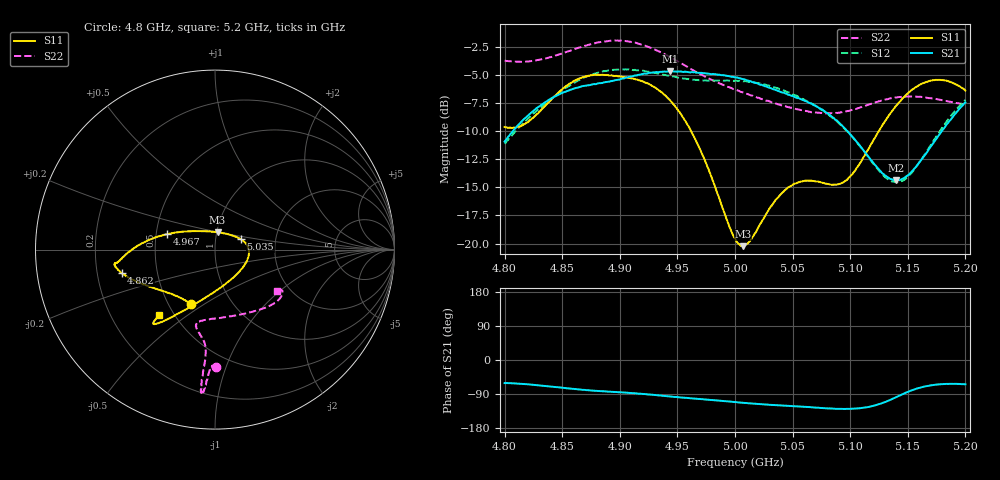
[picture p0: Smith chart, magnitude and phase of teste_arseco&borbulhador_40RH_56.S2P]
! Network Analyzer HP8722D
! Hewlett-Packard
! Data name: Linha & Wilkinson
! Saver's name: Rodrigo Anjos
! Comments: Teste da utilização de aquisição
! continua pelo VNA HP8722D
! Time and date: 15/4/2025 16:49
!  Frequency  S11  S21  S12  S22
# HZ  S  MA R 50
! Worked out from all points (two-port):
!   401 points, 4.8 GHz to 5.2 GHz, reference 50 ohm
!   highest |S21| = -4.63 dB at 4.944 GHz (marker M1); lowest = -14.4 dB at 5.14 GHz (marker M2)
!   |S21| within 3 dB of the highest: 4.832 GHz to 5.068 GHz (236 MHz wide, 4.77 % of centre); 5.198103 GHz to end of sweep
!   lowest |S11| = -20.2 dB at 5.007 GHz (marker M3), VSWR 1.22, Z = 50.5 + j9.81 ohm
!   |S11| at or under -10 dB: 4.962 GHz to 5.125 GHz (162.7 MHz wide, 3.23 % of centre)
!   |S22| runs from -8.4 to -1.9 dB; largest |S21 - S12| = 0.88
!   S11 on the Smith chart (normalised r, x): 4.8 GHz: 0.65, -0.44; 4.862 GHz: 0.31, -0.11; 4.967 GHz: 0.57, +0.11; 5.035 GHz: 1.33, +0.16; 5.2 GHz: 0.41, -0.39
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4.8e9  0.3308 -114.0  0.2848 -60.9  0.2786 -175.0  0.6542 -89.5
4.819e9  0.3452 -133.9  0.3667 -64.0  0.3549 -173.6  0.6487 -91.4
4.862e9  0.5364 -165.9  0.4941 -76.8  0.5266 -176.6  0.739 -93.8
4.867e9  0.5492 -167.8  0.5031 -78.5  0.5438 -177.6  0.7548 -93.8
4.902e9  0.5534 -172.4  0.5439 -85.6  0.5978 175.1  0.8015 -95.3
4.934e9  0.4822 -178.3  0.5815 -93.5  0.5722 171.8  0.7183 -95.7
4.944e9  0.4333 177.2  0.5866 -96.3  0.5579 171.9  0.6763 -95.6
4.967e9  0.2814 162.3  0.5776 -102.4  0.5359 173.8  0.5793 -95.1
5e9  0.1055 106.0  0.5509 -111.0  0.5329 176.4  0.4853 -99.3
5.007e9  0.09732 81.7  0.5409 -112.9  0.5289 176.2  0.4718 -101.0
5.014e9  0.1043 59.8  0.5283 -114.7  0.5251 176.1  0.4575 -102.6
5.035e9  0.1557 21.7  0.4848 -119.1  0.4965 175.0  0.4217 -103.9
5.05e9  0.1827 6.1  0.4555 -121.8  0.4626 174.4  0.4026 -100.1
5.067e9  0.1903 -12.2  0.4188 -124.9  0.42 174.0  0.3851 -91.7
5.086e9  0.1831 -42.7  0.3619 -128.4  0.3586 173.6  0.3807 -77.5
5.097e9  0.1919 -65.9  0.3188 -129.0  0.3172 174.4  0.3891 -68.3
5.134e9  0.3752 -116.5  0.1955 -106.2  0.1913 -158.9  0.4429 -43.4
5.14e9  0.4124 -120.0  0.1911 -98.0  0.1878 -149.5  0.4476 -40.7
5.152e9  0.4768 -124.8  0.2058 -81.7  0.2033 -130.9  0.4524 -36.3
5.17e9  0.5321 -128.9  0.2702 -66.9  0.275 -112.9  0.4448 -32.2
5.184e9  0.5315 -130.2  0.3412 -63.0  0.3519 -107.3  0.4321 -31.2
5.2e9  0.4809 -130.6  0.4259 -64.2  0.4372 -106.3  0.4158 -33.5
